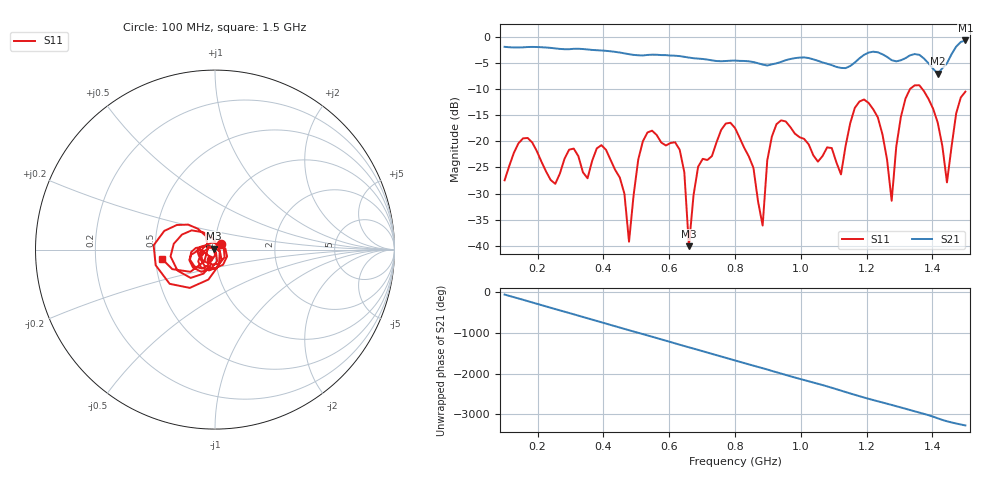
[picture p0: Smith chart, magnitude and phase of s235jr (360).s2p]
! NanoVNA-App
! Date: 2025-09-25 15:06:58
! Start: 100MHz Stop: 1,5GHz Points: 101
! S-Parameter data: F S11 S21 S12 S22
# Hz S RI R 50
!  Frequency  S11_Real  S11_Imag  S21_Real  S21_Imag  S12_Real  S12_Imag  S22_Real  S22_Imag
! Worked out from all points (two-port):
!   101 points, 100 MHz to 1.5 GHz, reference 50 ohm
!   highest |S21| = -0.74 dB at 1.5 GHz (marker M1); lowest = -7.1 dB at 1.416 GHz (marker M2)
!   |S21| within 3 dB of the highest: start of sweep to 632.9 MHz; 1.187 GHz to 1.258 GHz (71.26 MHz wide, 5.83 % of centre)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
!   lowest |S11| = -40.1 dB at 660 MHz (marker M3), VSWR 1.02, Z = 49.2 + j0.573 ohm
!   |S11| at or under -10 dB: start of sweep to 1.332 GHz; 1.369 GHz to end of sweep
!   S12 and S22 are empty: the file has one direction only
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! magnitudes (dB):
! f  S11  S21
! 100 MHz  -27.5  -2.0
! 156 MHz  -19.5  -2.1
! 338 MHz  -25.9  -2.4
! 408 MHz  -21.6  -2.7
! 478 MHz  -39.2  -3.4
! 520 MHz  -20.0  -3.6
! 576 MHz  -20.3  -3.5
! 632 MHz  -21.6  -3.7
! 660 MHz  -40.1  -4.0
! 688 MHz  -24.9  -4.2
! 800 MHz  -17.5  -4.6
! 884 MHz  -36.1  -5.3
! 926 MHz  -16.7  -5.1
! 1.038 GHz  -22.7  -4.4
! 1.122 GHz  -26.3  -6.0
! 1.192 GHz  -12.0  -3.5
! 1.234 GHz  -15.5  -3.0
! 1.276 GHz  -31.4  -4.5
! 1.332 GHz  -10.0  -3.6
! 1.416 GHz  -16.5  -7.1
! 1.444 GHz  -27.9  -5.1
! 1.5 GHz  -10.5  -0.7
